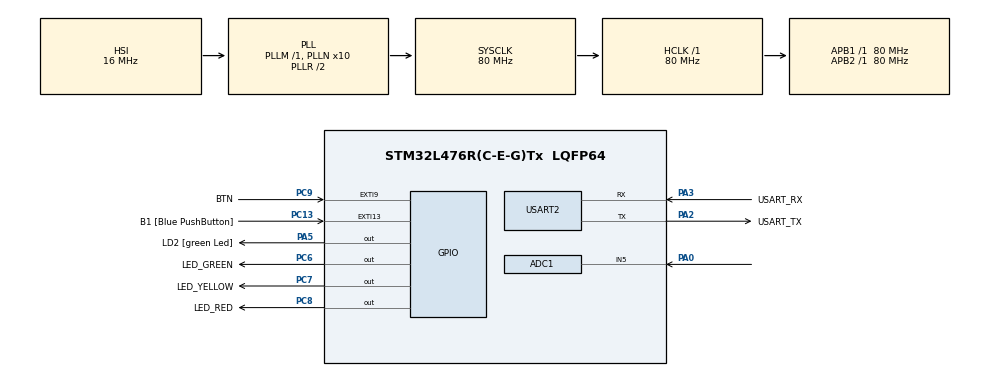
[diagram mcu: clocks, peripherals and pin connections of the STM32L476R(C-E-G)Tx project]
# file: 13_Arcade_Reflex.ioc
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ADC1.Channel-0\#ChannelRegularConversion=ADC_CHANNEL_5
ADC1.NbrOfConversionFlag=1
ADC1.OffsetNumber-0\#ChannelRegularConversion=ADC_OFFSET_NONE
ADC1.Rank-0\#ChannelRegularConversion=1
ADC1.SamplingTime-0\#ChannelRegularConversion=ADC_SAMPLETIME_2CYCLES_5
ADC1.master=1
Dma.Request0=USART2_TX
Dma.USART2_TX.0.Direction=DMA_MEMORY_TO_PERIPH
Dma.USART2_TX.0.Instance=DMA1_Channel7
Dma.USART2_TX.0.MemDataAlignment=DMA_MDATAALIGN_BYTE
Dma.USART2_TX.0.MemInc=DMA_MINC_ENABLE
Dma.USART2_TX.0.Mode=DMA_NORMAL
Dma.USART2_TX.0.PeriphDataAlignment=DMA_PDATAALIGN_BYTE
Dma.USART2_TX.0.PeriphInc=DMA_PINC_DISABLE
Dma.USART2_TX.0.Priority=DMA_PRIORITY_LOW
Mcu.Family=STM32L4
Mcu.Name=STM32L476R(C-E-G)Tx
Mcu.Package=LQFP64
NVIC.DMA1_Channel7_IRQn=true\:0\:0\:false\:false\:true\:false\:true\:true
NVIC.EXTI9_5_IRQn=true\:0\:0\:false\:false\:true\:true\:true\:true
NVIC.PriorityGroup=NVIC_PRIORITYGROUP_4
NVIC.USART2_IRQn=true\:0\:0\:false\:false\:true\:true\:true\:true
PA0.Signal=ADCx_IN5
PA13\ (JTMS-SWDIO).GPIO_Label=TMS
PA13\ (JTMS-SWDIO).Mode=Serial_Wire
PA13\ (JTMS-SWDIO).Signal=SYS_JTMS-SWDIO
PA14\ (JTCK-SWCLK).GPIO_Label=TCK
PA14\ (JTCK-SWCLK).Mode=Serial_Wire
PA14\ (JTCK-SWCLK).Signal=SYS_JTCK-SWCLK
PA2.GPIO_Label=USART_TX
PA2.GPIO_Mode=GPIO_MODE_AF_PP
PA2.GPIO_PuPd=GPIO_NOPULL
PA2.GPIO_Speed=GPIO_SPEED_FREQ_VERY_HIGH
PA2.Mode=Asynchronous
PA2.Signal=USART2_TX
PA3.GPIO_Label=USART_RX
PA3.GPIO_Mode=GPIO_MODE_AF_PP
PA3.GPIO_PuPd=GPIO_NOPULL
PA3.GPIO_Speed=GPIO_SPEED_FREQ_VERY_HIGH
PA3.Mode=Asynchronous
PA3.Signal=USART2_RX
PA5.GPIO_Label=LD2 [green Led]
PA5.GPIO_ModeDefaultOutputPP=GPIO_MODE_OUTPUT_PP
PA5.GPIO_PuPd=GPIO_NOPULL
PA5.GPIO_Speed=GPIO_SPEED_FREQ_LOW
PA5.Signal=GPIO_Output
PB3\ (JTDO-TRACESWO).GPIO_Label=SWO
PB3\ (JTDO-TRACESWO).Signal=SYS_JTDO-SWO
PC13.GPIO_Label=B1 [Blue PushButton]
PC13.GPIO_ModeDefaultEXTI=GPIO_MODE_IT_FALLING
PC13.GPIO_PuPd=GPIO_NOPULL
PC13.Signal=GPXTI13
PC14-OSC32_IN\ (PC14).Mode=LSE-External-Oscillator
PC14-OSC32_IN\ (PC14).Signal=RCC_OSC32_IN
PC15-OSC32_OUT\ (PC15).Mode=LSE-External-Oscillator
PC15-OSC32_OUT\ (PC15).Signal=RCC_OSC32_OUT
PC6.GPIO_Label=LED_GREEN
PC6.Signal=GPIO_Output
PC7.GPIO_Label=LED_YELLOW
PC7.Signal=GPIO_Output
PC8.GPIO_Label=LED_RED
PC8.Signal=GPIO_Output
PC9.GPIO_Label=BTN
PC9.GPIO_ModeDefaultEXTI=GPIO_MODE_IT_FALLING
PC9.GPIO_PuPd=GPIO_PULLUP
PC9.Signal=GPXTI9
PH0-OSC_IN\ (PH0).Signal=RCC_OSC_IN
PH1-OSC_OUT\ (PH1).Signal=RCC_OSC_OUT
ProjectManager.HeapSize=0x200
ProjectManager.StackSize=0x400
ProjectManager.TargetToolchain=STM32CubeIDE
RCC.ADCFreq_Value=64000000
RCC.AHBFreq_Value=80000000
RCC.APB1Freq_Value=80000000
RCC.APB1TimFreq_Value=80000000
RCC.APB2Freq_Value=80000000
RCC.APB2TimFreq_Value=80000000
RCC.CortexFreq_Value=80000000
RCC.HCLKFreq_Value=80000000
RCC.HSE_VALUE=8000000
RCC.HSI_VALUE=16000000
RCC.MSI_VALUE=4000000
RCC.PLLN=10
RCC.PLLSourceVirtual=RCC_PLLSOURCE_HSI
RCC.PREFETCH_ENABLE=1
RCC.SYSCLKFreq_VALUE=80000000
RCC.SYSCLKSource=RCC_SYSCLKSOURCE_PLLCLK
RCC.USBFreq_Value=64000000
RCC.VCOOutputFreq_Value=160000000
SH.ADCx_IN5.0=ADC1_IN5,IN5-Single-Ended
TIM2.Prescaler=79
USART2.VirtualMode-Asynchronous=VM_ASYNC
VP_TIM2_VS_ClockSourceINT.Mode=Internal
board=NUCLEO-L476RG

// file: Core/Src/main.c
/* USER CODE BEGIN Header */
/**
  ******************************************************************************
  * @file           : main.c
  * @brief          : Main program body
  ******************************************************************************
  * @attention
  *
  * Copyright (c) 2026 STMicroelectronics.
  * All rights reserved.
  *
  * This software is licensed under terms that can be found in the LICENSE file
  * in the root directory of this software component.
  * If no LICENSE file comes with this software, it is provided AS-IS.
  *
  ******************************************************************************
  */
/* USER CODE END Header */
#include "main.h"

/* USER CODE BEGIN Includes */
#include <stdio.h>
#include <string.h>
#include <stdlib.h>
/* USER CODE END Includes */

/* USER CODE BEGIN PTD */
typedef enum {
	STATE_IDLE,			// Waiting for the user to start a new game; score is reset
	STATE_GET_READY,
	STATE_SPAWN,		// Randomly selects an LED, sets target clicks, and records the timer start time
	STATE_PLAYING,		// The 1-second time window where the CPU watches the clock and waits for clicks
	STATE_EVALUATE,		// Checks if actual_clicks matches target_clicks and updates the score
	STATE_COOLDOWN,		// Non-blocking 500ms delay between rounds
	STATE_VICTORY		// Triggered at 5 points; reads the ADC photoresistor and prints the win message
} GameMode_t;
/* USER CODE END PTD */

ADC_HandleTypeDef hadc1;

TIM_HandleTypeDef htim2;

UART_HandleTypeDef huart2;
DMA_HandleTypeDef hdma_usart2_tx;

/* USER CODE BEGIN PV */
volatile GameMode_t current_mode = STATE_IDLE;
char tx_buffer[64];		// Use it to send data via UART

// Game logic variables
volatile uint8_t actual_clicks = 0;	// Must be volatile because EXTI changes it
uint8_t previous_clicks = 0;
uint8_t target_clicks = 0;			// 1 for Red, 2 for Yellow, 3 for Green
int8_t current_score = 0;			// Tracks progress to 5
uint32_t window_start_time = 0;		// Tracks when the 1-second timer started

const uint32_t waiting_time = 3000000;
uint32_t cooldown_start_time = 0;

uint32_t last_adc_time = 0;
uint32_t previous_light_value = 0;
/* USER CODE END PV */

void SystemClock_Config(void);
static void MX_GPIO_Init(void);
static void MX_DMA_Init(void);
static void MX_TIM2_Init(void);
static void MX_USART2_UART_Init(void);
static void MX_ADC1_Init(void);

int main(void)
{

  /* MCU Configuration--------------------------------------------------------*/

  /* Reset of all peripherals, Initializes the Flash interface and the Systick. */
  HAL_Init();

  /* Configure the system clock */
  SystemClock_Config();

  /* Initialize all configured peripherals */
  MX_GPIO_Init();
  MX_DMA_Init();
  MX_TIM2_Init();
  MX_USART2_UART_Init();
  MX_ADC1_Init();
  /* USER CODE BEGIN 2 */
  HAL_TIM_Base_Start(&htim2);
  /* USER CODE END 2 */

  /* Infinite loop */
  /* USER CODE BEGIN WHILE */
  while (1)
  {

	  switch (current_mode)
	  {
	  	  case STATE_IDLE:
	  		  // Do nothing here and wait for the button interrupt
	  		  break;

	  	  case STATE_GET_READY:
	  		  // Non-blocking 1 sec delay to let you lift your finger off the button
	  		  if (HAL_GetTick() - cooldown_start_time >= 1000)
	  		  {
	  			  current_mode = STATE_SPAWN;
	  		  }
	  		  break;

	  	  case STATE_SPAWN:
	  		  target_clicks = rand() % 3 + 1;
	  		  actual_clicks = 0;
	  		  previous_clicks = 0; // Reset the telemetry tracker

	  		  // Turn everything off first to ensure a clean slate
			  HAL_GPIO_WritePin(LED_GREEN_GPIO_Port, LED_GREEN_Pin, GPIO_PIN_RESET);
			  HAL_GPIO_WritePin(LED_YELLOW_GPIO_Port, LED_YELLOW_Pin, GPIO_PIN_RESET);
			  HAL_GPIO_WritePin(LED_RED_GPIO_Port, LED_RED_Pin, GPIO_PIN_RESET);

	  		  if (target_clicks == 1)
	  		  {
	  			  HAL_GPIO_WritePin(LED_RED_GPIO_Port, LED_RED_Pin, GPIO_PIN_SET);
	  		  }
	  		  else if (target_clicks == 2)
	  		  {
	  			  HAL_GPIO_WritePin(LED_YELLOW_GPIO_Port, LED_YELLOW_Pin, GPIO_PIN_SET);
	  		  }
	  		  else if (target_clicks == 3)
	  		  {
	  			  HAL_GPIO_WritePin(LED_GREEN_GPIO_Port, LED_GREEN_Pin, GPIO_PIN_SET);
	  		  }
	  		  window_start_time = TIM2->CNT;
	  		  current_mode = STATE_PLAYING;
	  		  break;

	  	  case STATE_PLAYING:
	  		  if (actual_clicks != previous_clicks)
	  		  {
	  			  snprintf(tx_buffer, sizeof(tx_buffer), "-> Click Registered: %u\r\n", actual_clicks);
				  HAL_UART_Transmit(&huart2, (uint8_t*)tx_buffer, strlen(tx_buffer), 50);
				  previous_clicks = actual_clicks; // Update tracker so we don't spam the terminal
	  		  }

	  		  // 3s for challenge
	  		  if ((TIM2->CNT - window_start_time) >= waiting_time)
	  		  {
	  			  HAL_GPIO_WritePin(LED_GREEN_GPIO_Port, LED_GREEN_Pin, GPIO_PIN_RESET);
	  			  HAL_GPIO_WritePin(LED_YELLOW_GPIO_Port, LED_YELLOW_Pin, GPIO_PIN_RESET);
	  			  HAL_GPIO_WritePin(LED_RED_GPIO_Port, LED_RED_Pin, GPIO_PIN_RESET);

	  			  current_mode = STATE_EVALUATE;	// Move to evaluation phase
	  		  }
	  		  break;

	  	  case STATE_EVALUATE:
	  		  if (actual_clicks == target_clicks)
	  		  {
	  			  current_score++;
	  			  snprintf(tx_buffer, sizeof(tx_buffer), "+1 Point, Current score: %u\r\n", current_score);
	  		  }
	  		  else
	  		  {
	  			  current_score--;	// Decrement score by 1 for mistake
	  			  snprintf(tx_buffer, sizeof(tx_buffer), "-1 Point, Current score: %d\r\n", current_score);
	  		  }
	  		  // Transmit the result
	  		  HAL_UART_Transmit(&huart2, (uint8_t*)tx_buffer, strlen(tx_buffer), 100);

	  		  if (current_score >= 5) {
	  			  snprintf(tx_buffer, sizeof(tx_buffer), "Congratulations you won!\r\n");
	  			  HAL_UART_Transmit(&huart2, (uint8_t*)tx_buffer, strlen(tx_buffer), 100);
	  			  current_mode = STATE_VICTORY;	// Go to victory state
	  		  }
	  		  else if (current_score <= -5)
	  		  {
	  			  snprintf(tx_buffer, sizeof(tx_buffer), "You lost!\r\n");
	  			  HAL_UART_Transmit(&huart2, (uint8_t*)tx_buffer, strlen(tx_buffer), 100);
	  			  current_score = 0;
	  			  current_mode = STATE_IDLE;	// Start from the beginning
	  		  }
	  		  else
	  		  {
	  			  // Game continues
	  			  cooldown_start_time = HAL_GetTick();
	  			  current_mode = STATE_COOLDOWN;
	  		  }
	  		  break;

	  	  case STATE_COOLDOWN:
	  		  // Non-blocking 500ms delay between rounds
	  		  if (HAL_GetTick() - cooldown_start_time >= 500)
	  		  {
	  			  current_mode = STATE_SPAWN;	// Restart the loop for the next round
	  		  }
	  		  break;

	  	  case STATE_VICTORY:
	  		  // Actively track and print the light level every 100ms, but only if it changes
			  if (HAL_GetTick() - last_adc_time >= 100)
			  {
				  HAL_ADC_Start(&hadc1);
				  if (HAL_ADC_PollForConversion(&hadc1, 5) == HAL_OK)
				  {
					  uint32_t current_light = HAL_ADC_GetValue(&hadc1);

					  // Print only if the value jumps by more than 50 to filter out noise
					  if (abs((int)current_light - (int)previous_light_value) > 50)
					  {
						  snprintf(tx_buffer, sizeof(tx_buffer), "Victory Light Level: %lu\r\n", current_light);
						  HAL_UART_Transmit(&huart2, (uint8_t*)tx_buffer, strlen(tx_buffer), 50);
						  previous_light_value = current_light;
					  }
				  }
				  HAL_ADC_Stop(&hadc1);
				  last_adc_time = HAL_GetTick();
			  }
			  break;
	  }
    /* USER CODE END WHILE */

  }
}

void SystemClock_Config(void)
{
  RCC_OscInitTypeDef RCC_OscInitStruct = {0};
  RCC_ClkInitTypeDef RCC_ClkInitStruct = {0};

  /** Configure the main internal regulator output voltage
  */
  if (HAL_PWREx_ControlVoltageScaling(PWR_REGULATOR_VOLTAGE_SCALE1) != HAL_OK)
  {
    Error_Handler();
  }

  /** Initializes the RCC Oscillators according to the specified parameters
  * in the RCC_OscInitTypeDef structure.
  */
  RCC_OscInitStruct.OscillatorType = RCC_OSCILLATORTYPE_HSI;
  RCC_OscInitStruct.HSIState = RCC_HSI_ON;
  RCC_OscInitStruct.HSICalibrationValue = RCC_HSICALIBRATION_DEFAULT;
  RCC_OscInitStruct.PLL.PLLState = RCC_PLL_ON;
  RCC_OscInitStruct.PLL.PLLSource = RCC_PLLSOURCE_HSI;
  RCC_OscInitStruct.PLL.PLLM = 1;
  RCC_OscInitStruct.PLL.PLLN = 10;
  RCC_OscInitStruct.PLL.PLLP = RCC_PLLP_DIV7;
  RCC_OscInitStruct.PLL.PLLQ = RCC_PLLQ_DIV2;
  RCC_OscInitStruct.PLL.PLLR = RCC_PLLR_DIV2;
  if (HAL_RCC_OscConfig(&RCC_OscInitStruct) != HAL_OK)
  {
    Error_Handler();
  }

  /** Initializes the CPU, AHB and APB buses clocks
  */
  RCC_ClkInitStruct.ClockType = RCC_CLOCKTYPE_HCLK|RCC_CLOCKTYPE_SYSCLK
                              |RCC_CLOCKTYPE_PCLK1|RCC_CLOCKTYPE_PCLK2;
  RCC_ClkInitStruct.SYSCLKSource = RCC_SYSCLKSOURCE_PLLCLK;
  RCC_ClkInitStruct.AHBCLKDivider = RCC_SYSCLK_DIV1;
  RCC_ClkInitStruct.APB1CLKDivider = RCC_HCLK_DIV1;
  RCC_ClkInitStruct.APB2CLKDivider = RCC_HCLK_DIV1;

  if (HAL_RCC_ClockConfig(&RCC_ClkInitStruct, FLASH_LATENCY_4) != HAL_OK)
  {
    Error_Handler();
  }
}

static void MX_ADC1_Init(void)
{

  ADC_MultiModeTypeDef multimode = {0};
  ADC_ChannelConfTypeDef sConfig = {0};

  /** Common config
  */
  hadc1.Instance = ADC1;
  hadc1.Init.ClockPrescaler = ADC_CLOCK_ASYNC_DIV1;
  hadc1.Init.Resolution = ADC_RESOLUTION_12B;
  hadc1.Init.DataAlign = ADC_DATAALIGN_RIGHT;
  hadc1.Init.ScanConvMode = ADC_SCAN_DISABLE;
  hadc1.Init.EOCSelection = ADC_EOC_SINGLE_CONV;
  hadc1.Init.LowPowerAutoWait = DISABLE;
  hadc1.Init.ContinuousConvMode = DISABLE;
  hadc1.Init.NbrOfConversion = 1;
  hadc1.Init.DiscontinuousConvMode = DISABLE;
  hadc1.Init.ExternalTrigConv = ADC_SOFTWARE_START;
  hadc1.Init.ExternalTrigConvEdge = ADC_EXTERNALTRIGCONVEDGE_NONE;
  hadc1.Init.DMAContinuousRequests = DISABLE;
  hadc1.Init.Overrun = ADC_OVR_DATA_PRESERVED;
  hadc1.Init.OversamplingMode = DISABLE;
  if (HAL_ADC_Init(&hadc1) != HAL_OK)
  {
    Error_Handler();
  }

  /** Configure the ADC multi-mode
  */
  multimode.Mode = ADC_MODE_INDEPENDENT;
  if (HAL_ADCEx_MultiModeConfigChannel(&hadc1, &multimode) != HAL_OK)
  {
    Error_Handler();
  }

  /** Configure Regular Channel
  */
  sConfig.Channel = ADC_CHANNEL_5;
  sConfig.Rank = ADC_REGULAR_RANK_1;
  sConfig.SamplingTime = ADC_SAMPLETIME_2CYCLES_5;
  sConfig.SingleDiff = ADC_SINGLE_ENDED;
  sConfig.OffsetNumber = ADC_OFFSET_NONE;
  sConfig.Offset = 0;
  if (HAL_ADC_ConfigChannel(&hadc1, &sConfig) != HAL_OK)
  {
    Error_Handler();
  }

}

static void MX_TIM2_Init(void)
{

  TIM_ClockConfigTypeDef sClockSourceConfig = {0};
  TIM_MasterConfigTypeDef sMasterConfig = {0};

  htim2.Instance = TIM2;
  htim2.Init.Prescaler = 79;
  htim2.Init.CounterMode = TIM_COUNTERMODE_UP;
  htim2.Init.Period = 4294967295;
  htim2.Init.ClockDivision = TIM_CLOCKDIVISION_DIV1;
  htim2.Init.AutoReloadPreload = TIM_AUTORELOAD_PRELOAD_DISABLE;
  if (HAL_TIM_Base_Init(&htim2) != HAL_OK)
  {
    Error_Handler();
  }
  sClockSourceConfig.ClockSource = TIM_CLOCKSOURCE_INTERNAL;
  if (HAL_TIM_ConfigClockSource(&htim2, &sClockSourceConfig) != HAL_OK)
  {
    Error_Handler();
  }
  sMasterConfig.MasterOutputTrigger = TIM_TRGO_RESET;
  sMasterConfig.MasterSlaveMode = TIM_MASTERSLAVEMODE_DISABLE;
  if (HAL_TIMEx_MasterConfigSynchronization(&htim2, &sMasterConfig) != HAL_OK)
  {
    Error_Handler();
  }

}

static void MX_USART2_UART_Init(void)
{

  huart2.Instance = USART2;
  huart2.Init.BaudRate = 115200;
  huart2.Init.WordLength = UART_WORDLENGTH_8B;
  huart2.Init.StopBits = UART_STOPBITS_1;
  huart2.Init.Parity = UART_PARITY_NONE;
  huart2.Init.Mode = UART_MODE_TX_RX;
  huart2.Init.HwFlowCtl = UART_HWCONTROL_NONE;
  huart2.Init.OverSampling = UART_OVERSAMPLING_16;
  huart2.Init.OneBitSampling = UART_ONE_BIT_SAMPLE_DISABLE;
  huart2.AdvancedInit.AdvFeatureInit = UART_ADVFEATURE_NO_INIT;
  if (HAL_UART_Init(&huart2) != HAL_OK)
  {
    Error_Handler();
  }

}

static void MX_DMA_Init(void)
{

  /* DMA controller clock enable */
  __HAL_RCC_DMA1_CLK_ENABLE();

  /* DMA interrupt init */
  /* DMA1_Channel7_IRQn interrupt configuration */
  HAL_NVIC_SetPriority(DMA1_Channel7_IRQn, 0, 0);
  HAL_NVIC_EnableIRQ(DMA1_Channel7_IRQn);

}

static void MX_GPIO_Init(void)
{
  GPIO_InitTypeDef GPIO_InitStruct = {0};

  /* GPIO Ports Clock Enable */
  __HAL_RCC_GPIOC_CLK_ENABLE();
  __HAL_RCC_GPIOH_CLK_ENABLE();
  __HAL_RCC_GPIOA_CLK_ENABLE();
  __HAL_RCC_GPIOB_CLK_ENABLE();

  /*Configure GPIO pin Output Level */
  HAL_GPIO_WritePin(LD2_GPIO_Port, LD2_Pin, GPIO_PIN_RESET);

  /*Configure GPIO pin Output Level */
  HAL_GPIO_WritePin(GPIOC, LED_GREEN_Pin|LED_YELLOW_Pin|LED_RED_Pin, GPIO_PIN_RESET);

  /*Configure GPIO pin : B1_Pin */
  GPIO_InitStruct.Pin = B1_Pin;
  GPIO_InitStruct.Mode = GPIO_MODE_IT_FALLING;
  GPIO_InitStruct.Pull = GPIO_NOPULL;
  HAL_GPIO_Init(B1_GPIO_Port, &GPIO_InitStruct);

  /*Configure GPIO pin : LD2_Pin */
  GPIO_InitStruct.Pin = LD2_Pin;
  GPIO_InitStruct.Mode = GPIO_MODE_OUTPUT_PP;
  GPIO_InitStruct.Pull = GPIO_NOPULL;
  GPIO_InitStruct.Speed = GPIO_SPEED_FREQ_LOW;
  HAL_GPIO_Init(LD2_GPIO_Port, &GPIO_InitStruct);

  /*Configure GPIO pins : LED_GREEN_Pin LED_YELLOW_Pin LED_RED_Pin */
  GPIO_InitStruct.Pin = LED_GREEN_Pin|LED_YELLOW_Pin|LED_RED_Pin;
  GPIO_InitStruct.Mode = GPIO_MODE_OUTPUT_PP;
  GPIO_InitStruct.Pull = GPIO_NOPULL;
  GPIO_InitStruct.Speed = GPIO_SPEED_FREQ_LOW;
  HAL_GPIO_Init(GPIOC, &GPIO_InitStruct);

  /*Configure GPIO pin : BTN_Pin */
  GPIO_InitStruct.Pin = BTN_Pin;
  GPIO_InitStruct.Mode = GPIO_MODE_IT_FALLING;
  GPIO_InitStruct.Pull = GPIO_PULLUP;
  HAL_GPIO_Init(BTN_GPIO_Port, &GPIO_InitStruct);

  /* EXTI interrupt init*/
  HAL_NVIC_SetPriority(EXTI9_5_IRQn, 0, 0);
  HAL_NVIC_EnableIRQ(EXTI9_5_IRQn);

}

/* USER CODE BEGIN 4 */
void HAL_GPIO_EXTI_Callback(uint16_t GPIO_Pin)
{
	if (GPIO_Pin == BTN_Pin)
	{
		static uint32_t last_interrupt_time = 0;
		uint32_t current_interrupt_time = HAL_GetTick();

		// 50ms debounce filter for rapid clicking
		if (current_interrupt_time - last_interrupt_time > 250)
		{
			if (current_mode == STATE_IDLE)
			{
				// Start new game
				current_score = 0;
				cooldown_start_time = HAL_GetTick();
				current_mode = STATE_GET_READY;
			}
			else if (current_mode == STATE_PLAYING)
			{
				actual_clicks++;
			}

			last_interrupt_time = current_interrupt_time;
		}
	}
}
/* USER CODE END 4 */

void Error_Handler(void)
{
  __disable_irq();
  while (1)
  {
  }
}
